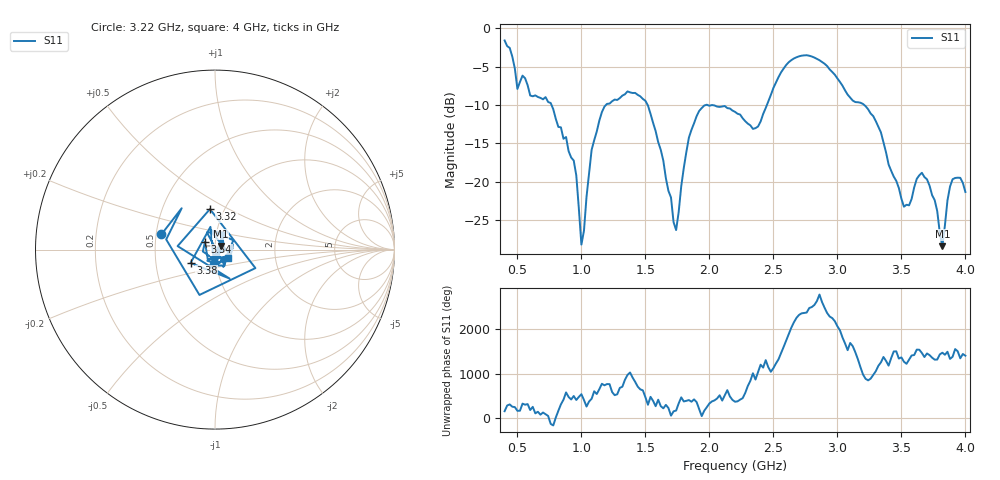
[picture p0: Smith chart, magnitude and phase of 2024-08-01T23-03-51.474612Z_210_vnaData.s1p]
!Created with skrf (http://scikit-rf.org).
# Hz S RI R 50.0
!freq ReS11 ImS11
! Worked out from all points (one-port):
!   181 points, 400 MHz to 4 GHz, reference 50 ohm
!   lowest |S11| = -28.4 dB at 3.82 GHz (marker M1), VSWR 1.08, Z = 53.2 + j2.21 ohm
!   |S11| at or under -10 dB: 1.517 GHz to 1.976 GHz (459.3 MHz wide, 26.3 % of centre); 1.983 GHz to 2.45 GHz (467.1 MHz wide, 21.1 % of centre); 3.208 GHz to end of sweep (the widest 3 of 4)
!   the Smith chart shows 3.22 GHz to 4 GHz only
!   S11 on the Smith chart (normalised r, x): 3.22 GHz: 0.53, +0.10; 3.32 GHz: 0.86, +0.41; 3.38 GHz: 0.75, -0.11; 3.54 GHz: 0.89, +0.08; 4 GHz: 1.15, -0.11
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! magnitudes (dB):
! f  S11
! 400 MHz  -1.6
! 500 MHz  -7.9
! 720 MHz  -9.0
! 860 MHz  -14.4
! 960 MHz  -19.2
! 1 GHz  -28.2
! 1.08 GHz  -15.9
! 1.18 GHz  -10.2
! 1.3 GHz  -9.1
! 1.52 GHz  -10.1
! 1.72 GHz  -25.3
! 1.76 GHz  -24.0
! 1.84 GHz  -14.3
! 1.92 GHz  -10.8
! 2.2 GHz  -10.9
! 2.38 GHz  -12.8
! 2.66 GHz  -3.9
! 3.1 GHz  -9.1
! 3.22 GHz  -10.2
! 3.32 GHz  -12.9
! 3.38 GHz  -16.2
! 3.54 GHz  -23.0
! 3.56 GHz  -23.1
! 3.66 GHz  -18.9
! 3.76 GHz  -22.4
! 3.82 GHz  -28.4
! 3.9 GHz  -19.7
! 4 GHz  -21.4
